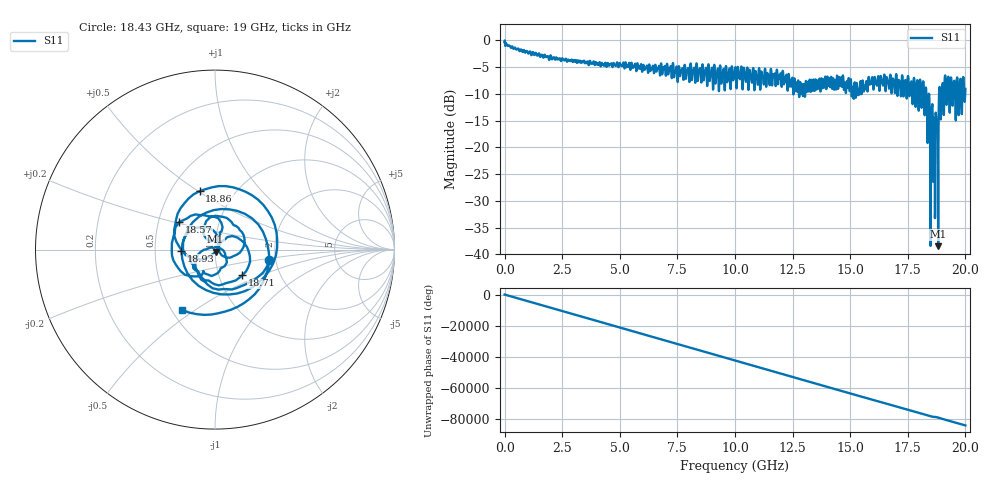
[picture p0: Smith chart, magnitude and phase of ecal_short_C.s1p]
! MS46122B
! 2250307/22442219
! 6/15/2025 8:10:45 AM
! C:\USERS\SPARKY\DOCUMENTS\VNA_DATA\JUNE15_2025\3.2K\ECAL_SHORT_C.S1P
! CHANNEL.1
! TR.MEASUREMENT
! RAW.DATA
# GHZ S RI R 50.0
! FREQ.GHZ  S11RE  S11IM
!; PortSelection: Port_1
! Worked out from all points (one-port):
!   10001 points, 1 MHz to 20 GHz, reference 50 ohm
!   lowest |S11| = -38.5 dB at 18.82 GHz (marker M1), VSWR 1.02, Z = 50.3 - j1.16 ohm
!   |S11| at or under -10 dB: 18.31 GHz to 18.41 GHz (108 MHz wide, 0.588 % of centre); 18.42 GHz to 18.86 GHz (441.2 MHz wide, 2.37 % of centre); 18.90168 GHz to 18.96913 GHz (67.45 MHz wide, 0.356 % of centre) (the widest 3 of 31)
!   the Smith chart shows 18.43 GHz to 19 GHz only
!   S11 on the Smith chart (normalised r, x): 18.43 GHz: 1.84, -0.22; 18.57 GHz: 0.64, +0.21; 18.71 GHz: 1.30, -0.39; 18.86 GHz: 0.69, +0.51; 18.93 GHz: 0.69, -0.01; 19 GHz: 0.56, -0.44
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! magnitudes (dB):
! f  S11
! 1 MHz  -0.3
! 2.501 GHz  -3.3
! 5.001 GHz  -4.2
! 7.501 GHz  -7.1
! 10 GHz  -5.4
! 12.5 GHz  -7.2
! 12.95 GHz  -10.3
! 14.09 GHz  -7.1
! 15 GHz  -8.6
! 15.32 GHz  -10.0
! 16.4 GHz  -8.0
! 17.5 GHz  -6.8
! 18.23 GHz  -13.4
! 18.29 GHz  -8.9
! 18.36 GHz  -19.0
! 18.43 GHz  -10.3
! 18.49 GHz  -34.4
! 18.57 GHz  -12.0
! 18.71 GHz  -13.6
! 18.75 GHz  -15.9
! 18.82 GHz  -38.5
! 18.86 GHz  -9.4
! 18.93 GHz  -14.6
! 19 GHz  -8.3
! 19.19 GHz  -12.0
! 19.58 GHz  -14.7
! 19.65 GHz  -7.0
! 20 GHz  -9.1
